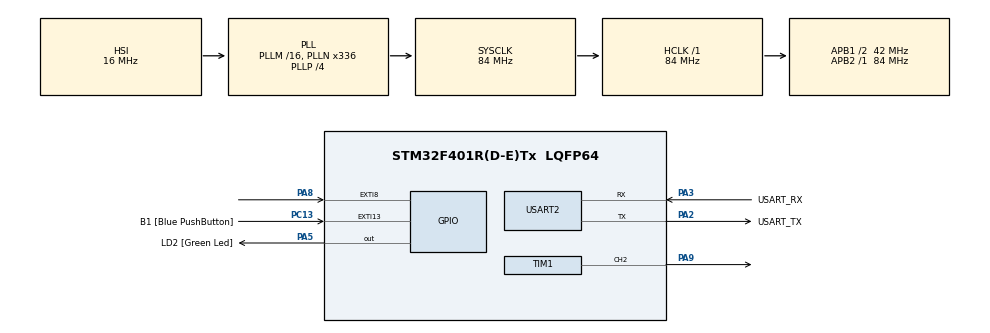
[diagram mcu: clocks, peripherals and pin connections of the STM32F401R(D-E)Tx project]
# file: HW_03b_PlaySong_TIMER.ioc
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Mcu.Family=STM32F4
Mcu.Name=STM32F401R(D-E)Tx
Mcu.Package=LQFP64
NVIC.EXTI9_5_IRQn=true\:0\:0\:true\:false\:true\:true\:true\:true
NVIC.PriorityGroup=NVIC_PRIORITYGROUP_0
NVIC.TIM2_IRQn=true\:0\:0\:false\:false\:true\:true\:true\:true
PA13.GPIO_Label=TMS
PA13.Mode=Serial_Wire
PA13.Signal=SYS_JTMS-SWDIO
PA14.GPIO_Label=TCK
PA14.Mode=Serial_Wire
PA14.Signal=SYS_JTCK-SWCLK
PA2.GPIO_Label=USART_TX
PA2.GPIO_Mode=GPIO_MODE_AF_PP
PA2.GPIO_PuPd=GPIO_NOPULL
PA2.GPIO_Speed=GPIO_SPEED_FREQ_LOW
PA2.Mode=Asynchronous
PA2.Signal=USART2_TX
PA3.GPIO_Label=USART_RX
PA3.GPIO_Mode=GPIO_MODE_AF_PP
PA3.GPIO_PuPd=GPIO_NOPULL
PA3.GPIO_Speed=GPIO_SPEED_FREQ_LOW
PA3.Mode=Asynchronous
PA3.Signal=USART2_RX
PA5.GPIO_Label=LD2 [Green Led]
PA5.GPIO_Mode=GPIO_MODE_OUTPUT_PP
PA5.GPIO_PuPd=GPIO_NOPULL
PA5.GPIO_Speed=GPIO_SPEED_FREQ_LOW
PA5.Signal=GPIO_Output
PA8.Signal=GPXTI8
PA9.Signal=S_TIM1_CH2
PB3.GPIO_Label=SWO
PB3.Signal=SYS_JTDO-SWO
PC13-ANTI_TAMP.GPIO_Label=B1 [Blue PushButton]
PC13-ANTI_TAMP.GPIO_ModeDefaultEXTI=GPIO_MODE_IT_FALLING
PC13-ANTI_TAMP.GPIO_PuPd=GPIO_NOPULL
PC13-ANTI_TAMP.Signal=GPXTI13
PC14-OSC32_IN.Mode=LSE-External-Oscillator
PC14-OSC32_IN.Signal=RCC_OSC32_IN
PC15-OSC32_OUT.Mode=LSE-External-Oscillator
PC15-OSC32_OUT.Signal=RCC_OSC32_OUT
PH0\ -\ OSC_IN.Mode=HSE-External-Clock-Source
PH0\ -\ OSC_IN.Signal=RCC_OSC_IN
PH1\ -\ OSC_OUT.Mode=HSE-External-Clock-Source
PH1\ -\ OSC_OUT.Signal=RCC_OSC_OUT
ProjectManager.HeapSize=0x200
ProjectManager.StackSize=0x400
ProjectManager.TargetToolchain=STM32CubeIDE
RCC.48MHZClocksFreq_Value=48000000
RCC.AHBFreq_Value=84000000
RCC.APB1CLKDivider=RCC_HCLK_DIV2
RCC.APB1Freq_Value=42000000
RCC.APB1TimFreq_Value=84000000
RCC.APB2Freq_Value=84000000
RCC.APB2TimFreq_Value=84000000
RCC.CortexFreq_Value=84000000
RCC.HCLKFreq_Value=84000000
RCC.HSE_VALUE=8000000
RCC.HSI_VALUE=16000000
RCC.PLLN=336
RCC.PLLP=RCC_PLLP_DIV4
RCC.PLLQ=7
RCC.SYSCLKFreq_VALUE=84000000
RCC.SYSCLKSource=RCC_SYSCLKSOURCE_PLLCLK
RCC.VCOOutputFreq_Value=336000000
SH.S_TIM1_CH2.0=TIM1_CH2,PWM Generation2 CH2
TIM1.Channel-PWM\ Generation2\ CH2=TIM_CHANNEL_2
TIM1.Period=3206-1
TIM1.Prescaler=100-1
TIM1.Pulse-PWM\ Generation2\ CH2=1603-1
TIM2.Period=50-1
TIM2.Prescaler=8400-1
USART2.VirtualMode=VM_ASYNC
VP_TIM1_VS_ClockSourceINT.Mode=Internal
VP_TIM2_VS_ClockSourceINT.Mode=Internal
board=NUCLEO-F401RE

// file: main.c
/* USER CODE BEGIN Header */
/**
  ******************************************************************************
  * @file           : main.c
  * @brief          : Main program body
  ******************************************************************************
  * @attention
  *
  * Copyright (c) 2024 STMicroelectronics.
  * All rights reserved.
  *
  * This software is licensed under terms that can be found in the LICENSE file
  * in the root directory of this software component.
  * If no LICENSE file comes with this software, it is provided AS-IS.
  *
  ******************************************************************************
  */
/* USER CODE END Header */
#include "main.h"

/* USER CODE BEGIN PTD */

struct note{
	int tone;
	int duration;
};

/* USER CODE END PTD */

/* USER CODE BEGIN PD */

#define DO4		3205
#define DOD4	3031
#define RE4		2856
#define RED4	2700
#define MI4		2544
#define FA4		2406
#define FAD4	2269
#define SOL4	2142
#define SOLD4	2023
#define LA4		1908
#define LAD4	1802
#define SI4		1699

#define TEMPO 	75

/* USER CODE END PD */

TIM_HandleTypeDef htim1;
TIM_HandleTypeDef htim2;

UART_HandleTypeDef huart2;

/* USER CODE BEGIN PV */

struct note song[]={
		{SOL4,6},
		{LA4,2},
		{SOL4,4},
		{FA4,4},
		{MI4,4},
		{FA4,4},
		{SOL4,8},
		{RE4,4},
		{MI4,4},
		{FA4,8},
		{MI4,4},
		{FA4,4},
		{SOL4,8},
		{SOL4,6},
		{LA4,2},
		{SOL4,4},
		{FA4,4},
		{MI4,4},
		{FA4,4},
		{SOL4,8},
		{RE4,8},
		{SOL4,8},
		{MI4,4},
		{DO4,12}
};

int note_index = 0;

int length = sizeof(song)/sizeof(song[0]);

int time = 0; // time measured in ms

int gpio_interrupt_enable = 1;

/* USER CODE END PV */

void SystemClock_Config(void);
static void MX_GPIO_Init(void);
static void MX_USART2_UART_Init(void);
static void MX_TIM1_Init(void);
static void MX_TIM2_Init(void);

/* USER CODE BEGIN 0 */

void playnote(struct note noteplaying) {

	// COPIED FROM MX_TIM1_Init

	  TIM_ClockConfigTypeDef sClockSourceConfig = {0};
	  TIM_MasterConfigTypeDef sMasterConfig = {0};
	  TIM_OC_InitTypeDef sConfigOC = {0};
	  TIM_BreakDeadTimeConfigTypeDef sBreakDeadTimeConfig = {0};

	  htim1.Instance = TIM1;
	  htim1.Init.Prescaler = 99;
	  htim1.Init.CounterMode = TIM_COUNTERMODE_UP;
	  htim1.Init.Period = noteplaying.tone;
	  htim1.Init.ClockDivision = TIM_CLOCKDIVISION_DIV1;
	  htim1.Init.RepetitionCounter = 0;
	  htim1.Init.AutoReloadPreload = TIM_AUTORELOAD_PRELOAD_DISABLE;
	  if (HAL_TIM_Base_Init(&htim1) != HAL_OK)
	  {
	    Error_Handler();
	  }

	  if (HAL_TIM_PWM_Init(&htim1) != HAL_OK)
	  {
	    Error_Handler();
	  }

	  sConfigOC.OCMode = TIM_OCMODE_PWM1;
	  sConfigOC.Pulse = noteplaying.tone/2;
	  sConfigOC.OCPolarity = TIM_OCPOLARITY_HIGH;
	  sConfigOC.OCNPolarity = TIM_OCNPOLARITY_HIGH;
	  sConfigOC.OCFastMode = TIM_OCFAST_DISABLE;
	  sConfigOC.OCIdleState = TIM_OCIDLESTATE_RESET;
	  sConfigOC.OCNIdleState = TIM_OCNIDLESTATE_RESET;
	  if (HAL_TIM_PWM_ConfigChannel(&htim1, &sConfigOC, TIM_CHANNEL_2) != HAL_OK)
	  {
	    Error_Handler();
	  }

//	__HAL_TIM_SET_AUTORELOAD(&htim1, noteplaying.tone);						// set the ARR of the timer
//	__HAL_TIM_SET_COMPARE(&htim1, TIM_CHANNEL_2, noteplaying.tone/2);		// set the pulse of the timer
	HAL_TIM_PWM_Start(&htim1, TIM_CHANNEL_2);								// start the note
	HAL_TIM_Base_Start_IT(&htim2);											// start the timer interrupt function

}

void HAL_GPIO_EXTI_Callback(uint16_t GPIO_Pin) {
	if(GPIO_Pin == GPIO_PIN_8) {
		if (gpio_interrupt_enable) {
			gpio_interrupt_enable = 0;				// flag to ignore interrupt request from the microphone till the song is finished
			playnote(song[0]);						// start the song
		}
	}
}

void HAL_TIM_PeriodElapsedCallback (TIM_HandleTypeDef *htim) {
	if (htim == &htim2) {
		time = time + TEMPO; 	// timer set as TEMPOms elapsed
	}
}

/* USER CODE END 0 */

int main(void)
{

  /* MCU Configuration--------------------------------------------------------*/

  /* Reset of all peripherals, Initializes the Flash interface and the Systick. */
  HAL_Init();

  /* Configure the system clock */
  SystemClock_Config();

  /* Initialize all configured peripherals */
  MX_GPIO_Init();
  MX_USART2_UART_Init();
  MX_TIM1_Init();
  MX_TIM2_Init();

  /* Infinite loop */
  while (1)
  {

    /* USER CODE BEGIN 3 */
	  if (time >= TEMPO*song[note_index].duration) {
			time = 0;
			HAL_TIM_PWM_Stop(&htim1, TIM_CHANNEL_2);
			HAL_TIM_Base_Stop_IT(&htim2);					// timer interrupt function deactivated
			if (note_index == length-1) {					// song is finished
				note_index = 0;
				__HAL_GPIO_EXTI_CLEAR_IT(GPIO_PIN_8);		// cancel possible interrupt request arisen when the song haven't finished yet
				gpio_interrupt_enable = 1;					// now we are ready again to start the song
			}
			else {
				playnote(song[++note_index]);
			}
		}
  }
  /* USER CODE END 3 */
}

void SystemClock_Config(void)
{
  RCC_OscInitTypeDef RCC_OscInitStruct = {0};
  RCC_ClkInitTypeDef RCC_ClkInitStruct = {0};

  /** Configure the main internal regulator output voltage
  */
  __HAL_RCC_PWR_CLK_ENABLE();
  __HAL_PWR_VOLTAGESCALING_CONFIG(PWR_REGULATOR_VOLTAGE_SCALE2);

  /** Initializes the RCC Oscillators according to the specified parameters
  * in the RCC_OscInitTypeDef structure.
  */
  RCC_OscInitStruct.OscillatorType = RCC_OSCILLATORTYPE_HSI;
  RCC_OscInitStruct.HSIState = RCC_HSI_ON;
  RCC_OscInitStruct.HSICalibrationValue = RCC_HSICALIBRATION_DEFAULT;
  RCC_OscInitStruct.PLL.PLLState = RCC_PLL_ON;
  RCC_OscInitStruct.PLL.PLLSource = RCC_PLLSOURCE_HSI;
  RCC_OscInitStruct.PLL.PLLM = 16;
  RCC_OscInitStruct.PLL.PLLN = 336;
  RCC_OscInitStruct.PLL.PLLP = RCC_PLLP_DIV4;
  RCC_OscInitStruct.PLL.PLLQ = 7;
  if (HAL_RCC_OscConfig(&RCC_OscInitStruct) != HAL_OK)
  {
    Error_Handler();
  }

  /** Initializes the CPU, AHB and APB buses clocks
  */
  RCC_ClkInitStruct.ClockType = RCC_CLOCKTYPE_HCLK|RCC_CLOCKTYPE_SYSCLK
                              |RCC_CLOCKTYPE_PCLK1|RCC_CLOCKTYPE_PCLK2;
  RCC_ClkInitStruct.SYSCLKSource = RCC_SYSCLKSOURCE_PLLCLK;
  RCC_ClkInitStruct.AHBCLKDivider = RCC_SYSCLK_DIV1;
  RCC_ClkInitStruct.APB1CLKDivider = RCC_HCLK_DIV2;
  RCC_ClkInitStruct.APB2CLKDivider = RCC_HCLK_DIV1;

  if (HAL_RCC_ClockConfig(&RCC_ClkInitStruct, FLASH_LATENCY_2) != HAL_OK)
  {
    Error_Handler();
  }
}

static void MX_TIM1_Init(void)
{

  TIM_ClockConfigTypeDef sClockSourceConfig = {0};
  TIM_MasterConfigTypeDef sMasterConfig = {0};
  TIM_OC_InitTypeDef sConfigOC = {0};
  TIM_BreakDeadTimeConfigTypeDef sBreakDeadTimeConfig = {0};

  htim1.Instance = TIM1;
  htim1.Init.Prescaler = 100-1;
  htim1.Init.CounterMode = TIM_COUNTERMODE_UP;
  htim1.Init.Period = 65535;
  htim1.Init.ClockDivision = TIM_CLOCKDIVISION_DIV1;
  htim1.Init.RepetitionCounter = 0;
  htim1.Init.AutoReloadPreload = TIM_AUTORELOAD_PRELOAD_DISABLE;
  if (HAL_TIM_Base_Init(&htim1) != HAL_OK)
  {
    Error_Handler();
  }
  sClockSourceConfig.ClockSource = TIM_CLOCKSOURCE_INTERNAL;
  if (HAL_TIM_ConfigClockSource(&htim1, &sClockSourceConfig) != HAL_OK)
  {
    Error_Handler();
  }
  if (HAL_TIM_PWM_Init(&htim1) != HAL_OK)
  {
    Error_Handler();
  }
  sMasterConfig.MasterOutputTrigger = TIM_TRGO_RESET;
  sMasterConfig.MasterSlaveMode = TIM_MASTERSLAVEMODE_DISABLE;
  if (HAL_TIMEx_MasterConfigSynchronization(&htim1, &sMasterConfig) != HAL_OK)
  {
    Error_Handler();
  }
  sConfigOC.OCMode = TIM_OCMODE_PWM1;
  sConfigOC.Pulse = 0;
  sConfigOC.OCPolarity = TIM_OCPOLARITY_HIGH;
  sConfigOC.OCNPolarity = TIM_OCNPOLARITY_HIGH;
  sConfigOC.OCFastMode = TIM_OCFAST_DISABLE;
  sConfigOC.OCIdleState = TIM_OCIDLESTATE_RESET;
  sConfigOC.OCNIdleState = TIM_OCNIDLESTATE_RESET;
  if (HAL_TIM_PWM_ConfigChannel(&htim1, &sConfigOC, TIM_CHANNEL_2) != HAL_OK)
  {
    Error_Handler();
  }
  sBreakDeadTimeConfig.OffStateRunMode = TIM_OSSR_DISABLE;
  sBreakDeadTimeConfig.OffStateIDLEMode = TIM_OSSI_DISABLE;
  sBreakDeadTimeConfig.LockLevel = TIM_LOCKLEVEL_OFF;
  sBreakDeadTimeConfig.DeadTime = 0;
  sBreakDeadTimeConfig.BreakState = TIM_BREAK_DISABLE;
  sBreakDeadTimeConfig.BreakPolarity = TIM_BREAKPOLARITY_HIGH;
  sBreakDeadTimeConfig.AutomaticOutput = TIM_AUTOMATICOUTPUT_DISABLE;
  if (HAL_TIMEx_ConfigBreakDeadTime(&htim1, &sBreakDeadTimeConfig) != HAL_OK)
  {
    Error_Handler();
  }
  HAL_TIM_MspPostInit(&htim1);

}

static void MX_TIM2_Init(void)
{

  TIM_ClockConfigTypeDef sClockSourceConfig = {0};
  TIM_MasterConfigTypeDef sMasterConfig = {0};

  htim2.Instance = TIM2;
  htim2.Init.Prescaler = 8400-1;
  htim2.Init.CounterMode = TIM_COUNTERMODE_UP;
  htim2.Init.Period = TEMPO*10;
  htim2.Init.ClockDivision = TIM_CLOCKDIVISION_DIV1;
  htim2.Init.AutoReloadPreload = TIM_AUTORELOAD_PRELOAD_DISABLE;
  if (HAL_TIM_Base_Init(&htim2) != HAL_OK)
  {
    Error_Handler();
  }
  sClockSourceConfig.ClockSource = TIM_CLOCKSOURCE_INTERNAL;
  if (HAL_TIM_ConfigClockSource(&htim2, &sClockSourceConfig) != HAL_OK)
  {
    Error_Handler();
  }
  sMasterConfig.MasterOutputTrigger = TIM_TRGO_RESET;
  sMasterConfig.MasterSlaveMode = TIM_MASTERSLAVEMODE_DISABLE;
  if (HAL_TIMEx_MasterConfigSynchronization(&htim2, &sMasterConfig) != HAL_OK)
  {
    Error_Handler();
  }

}

static void MX_USART2_UART_Init(void)
{

  huart2.Instance = USART2;
  huart2.Init.BaudRate = 115200;
  huart2.Init.WordLength = UART_WORDLENGTH_8B;
  huart2.Init.StopBits = UART_STOPBITS_1;
  huart2.Init.Parity = UART_PARITY_NONE;
  huart2.Init.Mode = UART_MODE_TX_RX;
  huart2.Init.HwFlowCtl = UART_HWCONTROL_NONE;
  huart2.Init.OverSampling = UART_OVERSAMPLING_16;
  if (HAL_UART_Init(&huart2) != HAL_OK)
  {
    Error_Handler();
  }

}

static void MX_GPIO_Init(void)
{
  GPIO_InitTypeDef GPIO_InitStruct = {0};

  /* GPIO Ports Clock Enable */
  __HAL_RCC_GPIOC_CLK_ENABLE();
  __HAL_RCC_GPIOH_CLK_ENABLE();
  __HAL_RCC_GPIOA_CLK_ENABLE();
  __HAL_RCC_GPIOB_CLK_ENABLE();

  /*Configure GPIO pin Output Level */
  HAL_GPIO_WritePin(GPIOC, GPIO_PIN_13, GPIO_PIN_RESET);

  /*Configure GPIO pin : PC13 */
  GPIO_InitStruct.Pin = GPIO_PIN_13;
  GPIO_InitStruct.Mode = GPIO_MODE_OUTPUT_PP;
  GPIO_InitStruct.Pull = GPIO_NOPULL;
  GPIO_InitStruct.Speed = GPIO_SPEED_FREQ_LOW;
  HAL_GPIO_Init(GPIOC, &GPIO_InitStruct);

  /*Configure GPIO pin : PA5 */
  GPIO_InitStruct.Pin = GPIO_PIN_5;
  GPIO_InitStruct.Mode = GPIO_MODE_INPUT;
  GPIO_InitStruct.Pull = GPIO_NOPULL;
  HAL_GPIO_Init(GPIOA, &GPIO_InitStruct);

  /*Configure GPIO pin : PA8 */
  GPIO_InitStruct.Pin = GPIO_PIN_8;
  GPIO_InitStruct.Mode = GPIO_MODE_IT_RISING;
  GPIO_InitStruct.Pull = GPIO_NOPULL;
  HAL_GPIO_Init(GPIOA, &GPIO_InitStruct);

  /* EXTI interrupt init*/
  HAL_NVIC_SetPriority(EXTI9_5_IRQn, 0, 0);
  HAL_NVIC_EnableIRQ(EXTI9_5_IRQn);

}

void Error_Handler(void)
{
  __disable_irq();
  while (1)
  {
  }
}
